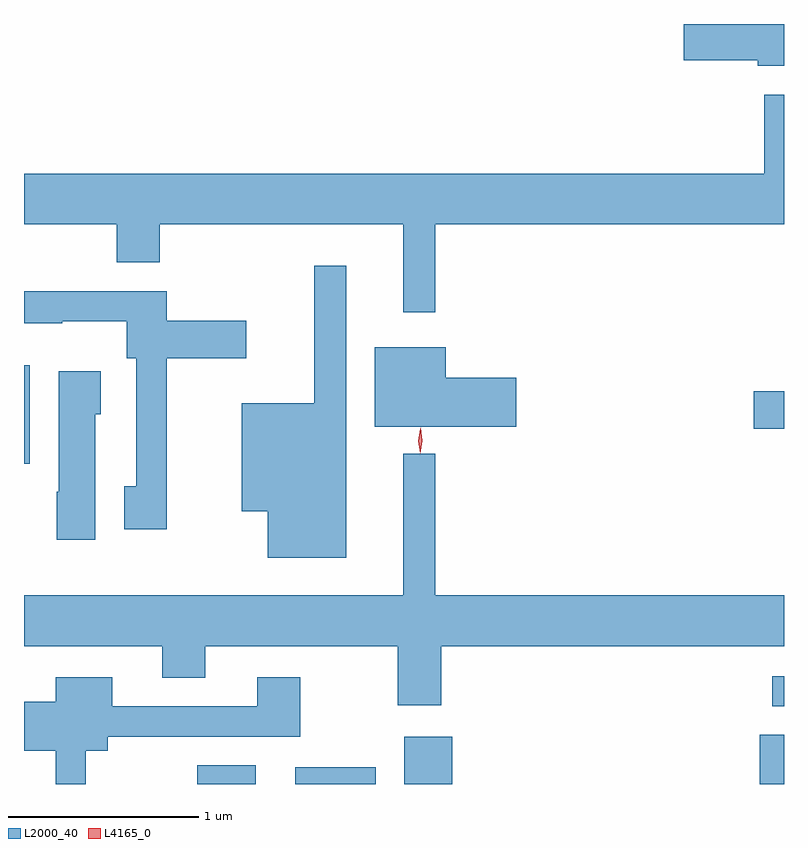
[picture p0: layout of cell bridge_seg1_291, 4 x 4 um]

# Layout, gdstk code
import gdstk
lib = gdstk.Library(unit=1e-6, precision=1e-09)
def R(c, l, rs):  # rectangles x0, y0, x1, y1
    for r in rs: c.add(gdstk.rectangle(r[:2], r[2:], *l))
def P(c, l, *ps):  # polygons
    for p in ps: c.add(gdstk.Polygon(p, *l))
L2000_40 = (2000, 40)
L4165_0 = (4165, 0)

bridge_seg1_291 = lib.new_cell('bridge_seg1_291')
R(bridge_seg1_291, L2000_40, [(886.476,901.071,886.784,901.169), (886.991,901.071,887.414,901.159), (887.566,901.071,887.819,901.319), (889.436,901.071,889.564,901.329), (889.503,901.481,889.564,901.639), (885.564,902.756,885.594,903.274), (889.406,902.941,889.564,903.139)])
P(bridge_seg1_291, L2000_40, [(889.564,905.071),(889.036,905.071),(889.036,904.881),(889.426,904.881),(889.426,904.851),(889.564,904.851)],
  [(887.729,904.016),(889.564,904.016),(889.564,904.699),(889.461,904.699),(889.461,904.284),(885.564,904.284),(885.564,904.016),(886.051,904.016),(886.051,903.816),(886.279,903.816),(886.279,904.016),(887.561,904.016),(887.561,903.553),(887.729,903.553)],
  [(887.259,903.798),(887.091,903.798),(887.091,903.074),(886.711,903.074),(886.711,902.506),(886.846,902.506),(886.846,902.261),(887.259,902.261)],
  [(886.314,903.311),(886.734,903.311),(886.734,903.509),(886.314,903.509),(886.314,903.664),(885.564,903.664),(885.564,903.496),(885.765,903.496),(885.765,903.506),(886.106,903.506),(886.106,903.311),(886.156,903.311),(886.156,902.639),(886.091,902.639),(886.091,902.411),(886.314,902.411)],
  [(888.154,903.209),(887.784,903.209),(887.784,903.369),(887.411,903.369),(887.411,902.951),(888.154,902.951)],
  [(885.939,903.016),(885.969,903.016),(885.969,903.244),(885.746,903.244),(885.746,902.61),(885.736,902.61),(885.736,902.356),(885.939,902.356)],
  [(887.759,901.796),(889.564,901.796),(889.564,902.064),(887.729,902.064),(887.729,902.808),(887.561,902.808),(887.561,902.064),(885.564,902.064),(885.564,901.796),(886.291,901.796),(886.291,901.631),(886.519,901.631),(886.519,901.796),(887.531,901.796),(887.531,901.486),(887.759,901.486)],
  [(885.889,901.246),(886.004,901.246),(886.004,901.321),(887.019,901.321),(887.019,901.634),(886.791,901.634),(886.791,901.479),(886.029,901.479),(886.029,901.634),(885.731,901.634),(885.731,901.504),(885.564,901.504),(885.564,901.246),(885.731,901.246),(885.731,901.071),(885.889,901.071)])
P(bridge_seg1_291, L4165_0, [(887.65,902.813),(887.649,902.814),(887.64,902.876),(887.649,902.94),(887.65,902.94),(887.65,902.94),(887.66,902.876),(887.65,902.814)],
  [(887.649,902.81),(887.641,902.878),(887.651,902.945),(887.652,902.946),(887.652,902.945),(887.661,902.878),(887.65,902.81),(887.65,902.81)])

lib.write_gds('bridge_seg1_291.gds')
